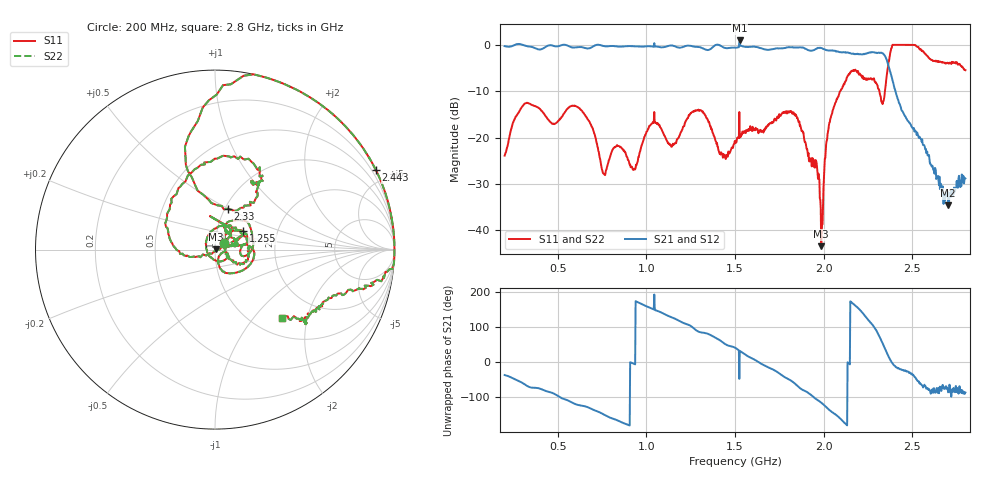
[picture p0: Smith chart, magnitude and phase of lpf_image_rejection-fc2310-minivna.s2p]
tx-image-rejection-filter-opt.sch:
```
<Qucs Schematic 0.0.20>
<Properties>
  <View=-93,-129,1930,1339,0.85489,98,172>
  <Grid=10,10,1>
  <DataSet=tx-image-rejection-filter-opt.dat>
  <DataDisplay=tx-image-rejection-filter-opt.dpl>
  <OpenDisplay=1>
  <Script=tx-image-rejection-filter-opt.m>
  <RunScript=0>
  <showFrame=0>
  <FrameText0=Title>
  <FrameText1=Drawn By:>
  <FrameText2=Date:>
  <FrameText3=Revision:>
</Properties>
<Symbol>
</Symbol>
<Components>
  <SUBST FR4 1 330 60 -30 24 0 0 "4.3" 1 "1.6mm" 1 "0.035 mm" 1 "0.015" 1 "1.72e-8" 1 "0" 1>
  <MLIN MS23 1 150 380 -26 -91 1 0 "FR4" 1 "1.5 mm" 1 "20 mm" 1 "Hammerstad" 0 "Kirschning" 0 "26.85" 0>
  <MLIN MS9 1 310 380 -26 -91 1 0 "FR4" 1 "1.5 mm" 1 "0.5 mm" 1 "Hammerstad" 0 "Kirschning" 0 "26.85" 0>
  <MLIN MS10 1 460 380 -26 -91 1 0 "FR4" 1 "1.5 mm" 1 "0.5 mm" 1 "Hammerstad" 0 "Kirschning" 0 "26.85" 0>
  <MLIN MS11 1 590 380 -26 -91 1 0 "FR4" 1 "1.5 mm" 1 "0.5 mm" 1 "Hammerstad" 0 "Kirschning" 0 "26.85" 0>
  <MLIN MS8 1 410 460 -95 -26 1 1 "FR4" 1 "1.5 mm" 1 "1mm" 1 "Hammerstad" 0 "Kirschning" 0 "26.85" 0>
  <MLIN MS17 1 410 610 -95 -26 1 1 "FR4" 1 "1.5 mm" 1 "1.5 mm" 1 "Hammerstad" 0 "Kirschning" 0 "26.85" 0>
  <MLIN MS19 1 1150 610 -95 -26 1 1 "FR4" 1 "1.5 mm" 1 "1.5 mm" 1 "Hammerstad" 0 "Kirschning" 0 "26.85" 0>
  <MLIN MS12 1 690 380 -26 -91 1 0 "FR4" 1 "1.5 mm" 1 "0.5 mm" 1 "Hammerstad" 0 "Kirschning" 0 "26.85" 0>
  <MLIN MS13 1 810 380 -26 -91 1 0 "FR4" 1 "1.5 mm" 1 "0.5 mm" 1 "Hammerstad" 0 "Kirschning" 0 "26.85" 0>
  <MLIN MS16 1 1220 380 -26 -91 1 0 "FR4" 1 "1.5 mm" 1 "0.5 mm" 1 "Hammerstad" 0 "Kirschning" 0 "26.85" 0>
  <MLIN MS24 1 1370 380 -26 -91 1 0 "FR4" 1 "1.5 mm" 1 "20 mm" 1 "Hammerstad" 0 "Kirschning" 0 "26.85" 0>
  <MLIN MS6 1 1150 450 -95 -26 1 1 "FR4" 1 "1.5 mm" 1 "1 mm" 1 "Hammerstad" 0 "Kirschning" 0 "26.85" 0>
  <MLIN MS18 1 650 600 -95 -26 1 1 "FR4" 1 "1.5 mm" 1 "1.5 mm" 1 "Hammerstad" 0 "Kirschning" 0 "26.85" 0>
  <MLIN MS15 1 1100 380 -26 -91 1 0 "FR4" 1 "1.5 mm" 1 "0.5 mm" 1 "Hammerstad" 0 "Kirschning" 0 "26.85" 0>
  <MLIN MS14 1 930 380 -26 -91 1 0 "FR4" 1 "1.5 mm" 1 "0.5 mm" 1 "Hammerstad" 0 "Kirschning" 0 "26.85" 0>
  <MLIN MS4 1 880 460 -95 -26 1 1 "FR4" 1 "1.5 mm" 1 "1 mm" 1 "Hammerstad" 0 "Kirschning" 0 "26.85" 0>
  <MLIN MS20 1 880 600 -95 -26 1 1 "FR4" 1 "1.5 mm" 1 "1.5 mm" 1 "Hammerstad" 0 "Kirschning" 0 "26.85" 0>
  <L L3 1 230 380 -26 10 0 0 "L1" 1 "" 0>
  <L L4 1 1290 380 -26 10 0 0 "L1" 1 "" 0>
  <C C4 1 410 540 17 -26 0 1 "C1" 1 "" 0 "neutral" 0>
  <C C7 1 1150 530 17 -26 0 1 "C1" 1 "" 0 "neutral" 0>
  <L L1 1 530 380 -26 10 0 0 "L2" 1 "" 0>
  <L L5 1 750 380 -26 10 0 0 "L2" 1 "" 0>
  <L L6 1 1020 380 -26 10 0 0 "L2" 1 "" 0>
  <MLIN MS3 1 650 450 -95 -26 1 1 "FR4" 1 "1.5 mm" 1 "1 mm" 1 "Hammerstad" 0 "Kirschning" 0 "26.85" 0>
  <MVIA MS25 1 430 720 20 0 0 0 "FR4" 1 "0.4 mm" 1 "26.85" 0>
  <MVIA MS26 1 670 720 20 0 0 0 "FR4" 1 "0.4 mm" 1 "26.85" 0>
  <MVIA MS27 1 900 720 20 0 0 0 "FR4" 1 "0.4 mm" 1 "26.85" 0>
  <MVIA MS28 1 1170 720 20 0 0 0 "FR4" 1 "0.4 mm" 1 "26.85" 0>
  <Pac P2 1 80 440 -94 -26 1 1 "1" 1 "50 Ohm" 1 "-10 dBm" 0 "2220 MHz" 0 "26.85" 0>
  <Pac P1 1 1420 450 18 -26 0 1 "2" 1 "50 Ohm" 1 "-100 dBm" 0 "2220 MHz" 0 "26.85" 0>
  <Eqn Eqn4 1 800 160 -28 15 0 0 "S21_dB=dB(S[2,1])" 1 "S11_dB=dB(S[1,1])" 1 "yes" 0>
  <C C5 1 650 520 17 -26 0 1 "C2" 1 "" 0 "neutral" 0>
  <C C6 1 880 530 17 -26 0 1 "C2" 1 "" 0 "neutral" 0>
  <GND * 5 80 520 0 0 0 0>
  <GND * 5 1420 520 0 0 0 0>
  <.SP SP1 1 80 20 0 75 0 0 "log" 1 "100 MHz" 1 "3000 MHz" 1 "400" 1 "no" 0 "1" 0 "2" 0 "no" 0 "no" 0>
  <Eqn Eqn1 1 800 40 -31 15 0 0 "ripple=min(dB(S[2,1]), 100e06:2310e06)" 1 "roll_off=max(dB(S[2,1]), 2600e06:2700e06)" 1 "yes" 0>
  <GND *1 5 1480 1020 0 0 0 0>
  <Pac P3 1 1340 960 18 -26 0 1 "8" 1 "50 Ohm" 1 "-10 dBm" 0 "2220 MHz" 0 "26.85" 0>
  <Pac P4 1 1610 960 18 -26 0 1 "9" 1 "50 Ohm" 1 "-10 dBm" 0 "2220 MHz" 0 "26.85" 0>
  <Eqn Eqn5 1 1780 910 -28 15 0 0 "S98_dB=dB(S[9,8])" 1 "S88_dB=dB(S[8,8])" 1 "yes" 0>
  <.Opt Opt1 0 470 30 0 39 0 0 "Sim=SP1" 0 "DE=8|100|2|50|0.85|1|3|1e-6|10|100" 0 "Var=L1|yes|1e-09|1e-9|20e-9|LIN_DOUBLE" 0 "Var=L2|yes|6.89e-09|1e-9|20e-9|LIN_DOUBLE" 0 "Var=C1|yes|8.37e-13|0.5e-12|3e-12|LIN_DOUBLE" 0 "Var=C2|yes|1.23e-12|0.5e-12|3e-12|LIN_DOUBLE" 0 "Goal=ripple|GE|-0.5" 0 "Goal=roll_off|LE|-28" 0>
  <Eqn OptValues1 0 1170 30 -28 15 0 0 "L1=5.6e-09" 1 "L2=7.5e-09" 1 "C1=1e-12" 1 "C2=1.2e-12" 1 "yes" 0>
  <Eqn OptValues2 1 1300 30 -28 15 0 0 "L1=1.2E-09" 1 "L2=5.6E-09" 1 "C1=1E-12" 1 "C2=1.2E-12" 1 "yes" 0>
  <SPfile LPF1 1 1480 920 -26 -38 0 0 "lpf_image_rejection-fc2310-minivna.s2p" 0 "rectangular" 0 "linear" 0 "open" 0 "2" 0>
</Components>
<Wires>
  <410 570 410 580 "" 0 0 0 "">
  <410 490 410 510 "" 0 0 0 "">
  <410 640 410 720 "" 0 0 0 "">
  <410 380 410 430 "" 0 0 0 "">
  <80 470 80 520 "" 0 0 0 "">
  <80 380 80 410 "" 0 0 0 "">
  <80 380 120 380 "" 0 0 0 "">
  <340 380 410 380 "" 0 0 0 "">
  <410 380 430 380 "" 0 0 0 "">
  <1420 380 1420 420 "" 0 0 0 "">
  <1400 380 1420 380 "" 0 0 0 "">
  <1150 380 1190 380 "" 0 0 0 "">
  <1150 380 1150 420 "" 0 0 0 "">
  <1150 480 1150 500 "" 0 0 0 "">
  <1150 560 1150 580 "" 0 0 0 "">
  <490 380 500 380 "" 0 0 0 "">
  <620 380 650 380 "" 0 0 0 "">
  <650 380 660 380 "" 0 0 0 "">
  <650 380 650 420 "" 0 0 0 "">
  <650 480 650 490 "" 0 0 0 "">
  <650 550 650 570 "" 0 0 0 "">
  <650 630 650 720 "" 0 0 0 "">
  <1130 380 1150 380 "" 0 0 0 "">
  <1050 380 1070 380 "" 0 0 0 "">
  <960 380 990 380 "" 0 0 0 "">
  <840 380 880 380 "" 0 0 0 "">
  <880 380 900 380 "" 0 0 0 "">
  <880 380 880 430 "" 0 0 0 "">
  <880 490 880 500 "" 0 0 0 "">
  <880 560 880 570 "" 0 0 0 "">
  <880 630 880 720 "" 0 0 0 "">
  <1150 640 1150 720 "" 0 0 0 "">
  <1420 480 1420 520 "" 0 0 0 "">
  <260 380 280 380 "" 0 0 0 "">
  <180 380 200 380 "" 0 0 0 "">
  <1320 380 1340 380 "" 0 0 0 "">
  <1250 380 1260 380 "" 0 0 0 "">
  <1480 950 1480 1020 "" 0 0 0 "">
  <1340 1020 1480 1020 "" 0 0 0 "">
  <1340 990 1340 1020 "" 0 0 0 "">
  <1340 920 1340 930 "" 0 0 0 "">
  <1340 920 1450 920 "" 0 0 0 "">
  <1480 1020 1610 1020 "" 0 0 0 "">
  <1610 990 1610 1020 "" 0 0 0 "">
  <1610 920 1610 930 "" 0 0 0 "">
  <1510 920 1610 920 "" 0 0 0 "">
</Wires>
<Diagrams>
  <Rect 60 1143 887 293 3 #c0c0c0 1 00 0 1.8e+09 1e+08 2.8e+09 0 -40 5 5 1 -1 0.5 1 315 0 225 "" "" "" "">
	<"S11_dB" #0000ff 2 3 0 0 0>
	<"S21_dB" #ff0000 2 3 0 0 0>
	  <Mkr 2.34294e+09 532 -337 3 0 0>
	  <Mkr 2.50829e+09 718 -340 3 0 0>
	<"S88_dB" #ff00ff 2 3 0 0 0>
	<"S98_dB" #00ff00 2 3 0 0 0>
  </Rect>
  <Tab 1000 954 219 64 3 #c0c0c0 1 00 1 0 1 1 1 0 1 1 1 0 1 1 315 0 225 "" "" "" "">
	<"ripple" #0000ff 0 3 1 0 0>
	<"roll_off" #0000ff 0 3 1 0 0>
  </Tab>
</Diagrams>
<Paintings>
</Paintings>
```
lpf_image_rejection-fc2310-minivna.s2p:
! created by azisi at Wed Sep 23 19:51:24 EEST 2020
! generated using vna/J Version 3.4.3
# Hz S DB R 50.0
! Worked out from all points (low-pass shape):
!   1014 points, 200 MHz to 2.8 GHz, reference 50 ohm
!   highest |S21| = 0.94 dB at 1.527 GHz (marker M1); lowest = -34.6 dB at 2.702 GHz (marker M2)
!   |S21| within 3 dB of the highest: start of sweep to 2.212 GHz; 2.218 GHz to 2.339 GHz (121.4 MHz wide, 5.33 % of centre)
!   lowest |S11| = -43.4 dB at 1.986 GHz (marker M3), VSWR 1.01, Z = 50.7 + j0.119 ohm
!   |S11| at or under -10 dB: start of sweep to 2.094 GHz; 2.315 GHz to 2.346 GHz (30.98 MHz wide, 1.33 % of centre)
!   |S22| runs from -43.4 to 0.0 dB; largest |S21 - S12| = 0
!   S11 on the Smith chart (normalised r, x): 200 MHz: 1.11, +0.08; 1.255 GHz: 1.33, +0.28; 2.33 GHz: 1.03, +0.50; 2.443 GHz: -0.00, +4.26; 2.8 GHz: 1.33, -1.41
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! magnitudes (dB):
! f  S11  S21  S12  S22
! 200 MHz  -23.9  -0.3  -0.3  -23.9
! 1.255 GHz  -14.6  -0.2  -0.2  -14.6
! 1.501 GHz  -21.1  -0.6  -0.6  -21.1
! 1.527 GHz  -20.0  0.9  0.9  -20.0
! 1.83 GHz  -14.6  -0.6  -0.6  -14.6
! 1.986 GHz  -43.4  -0.7  -0.7  -43.4
! 2.143 GHz  -6.4  -1.7  -1.7  -6.4
! 2.33 GHz  -12.4  -1.8  -1.8  -12.4
! 2.443 GHz  0.0  -14.3  -14.3  0.0
! 2.702 GHz  -4.0  -34.6  -34.6  -4.0
! 2.8 GHz  -5.5  -28.8  -28.8  -5.5
